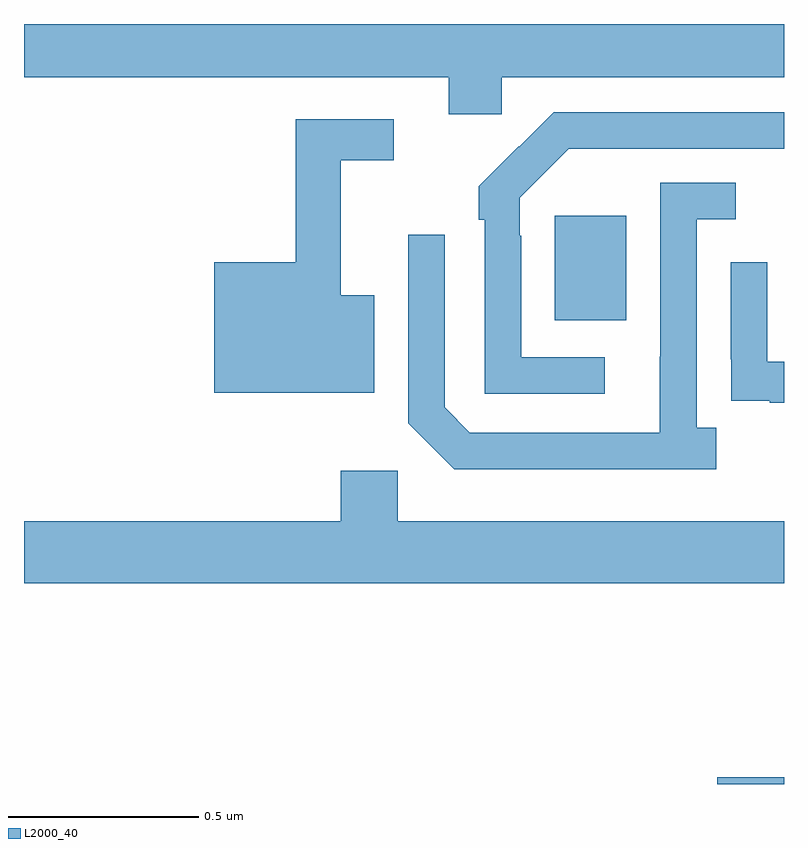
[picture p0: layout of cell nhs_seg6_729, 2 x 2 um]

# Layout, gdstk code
import gdstk
lib = gdstk.Library(unit=1e-6, precision=1e-09)
def R(c, l, rs):  # rectangles x0, y0, x1, y1
    for r in rs: c.add(gdstk.rectangle(r[:2], r[2:], *l))
def P(c, l, *ps):  # polygons
    for p in ps: c.add(gdstk.Polygon(p, *l))
L2000_40 = (2000, 40)

nhs_seg6_729 = lib.new_cell('nhs_seg6_729')
R(nhs_seg6_729, L2000_40, [(121.824,921.5,122,921.518), (121.397,922.721,121.585,922.996)])
P(nhs_seg6_729, L2000_40, [(121.257,923.36),(122,923.36),(122,923.5),(120,923.5),(120,923.36),(121.118,923.36),(121.118,923.262),(121.257,923.262)],
  [(121.528,922.623),(121.308,922.623),(121.308,922.943),(121.305,922.943),(121.305,923.043),(121.434,923.172),(122,923.172),(122,923.268),(121.394,923.268),(121.303,923.177),(121.302,923.178),(121.197,923.073),(121.197,922.985),(121.212,922.985),(121.212,922.527),(121.528,922.527)],
  [(120.922,922.786),(120.833,922.786),(120.833,923.142),(120.973,923.142),(120.973,923.25),(120.715,923.25),(120.715,922.873),(120.5,922.873),(120.5,922.529),(120.922,922.529)],
  [(121.822,922.438),(121.77,922.438),(121.77,922.986),(121.873,922.986),(121.873,923.082),(121.674,923.082),(121.674,922.625),(121.673,922.625),(121.673,922.425),(121.173,922.425),(121.107,922.491),(121.107,922.945),(121.011,922.945),(121.011,922.449),(121.132,922.328),(121.822,922.328)],
  [(122,922.611),(121.956,922.611),(121.956,922.873),(121.86,922.873),(121.86,922.618),(121.861,922.618),(121.861,922.509),(121.963,922.509),(121.963,922.503),(122,922.503)],
  [(122,922.192),(120.984,922.192),(120.984,922.324),(120.833,922.324),(120.833,922.192),(120,922.192),(120,922.028),(122,922.028)])

lib.write_gds('nhs_seg6_729.gds')
